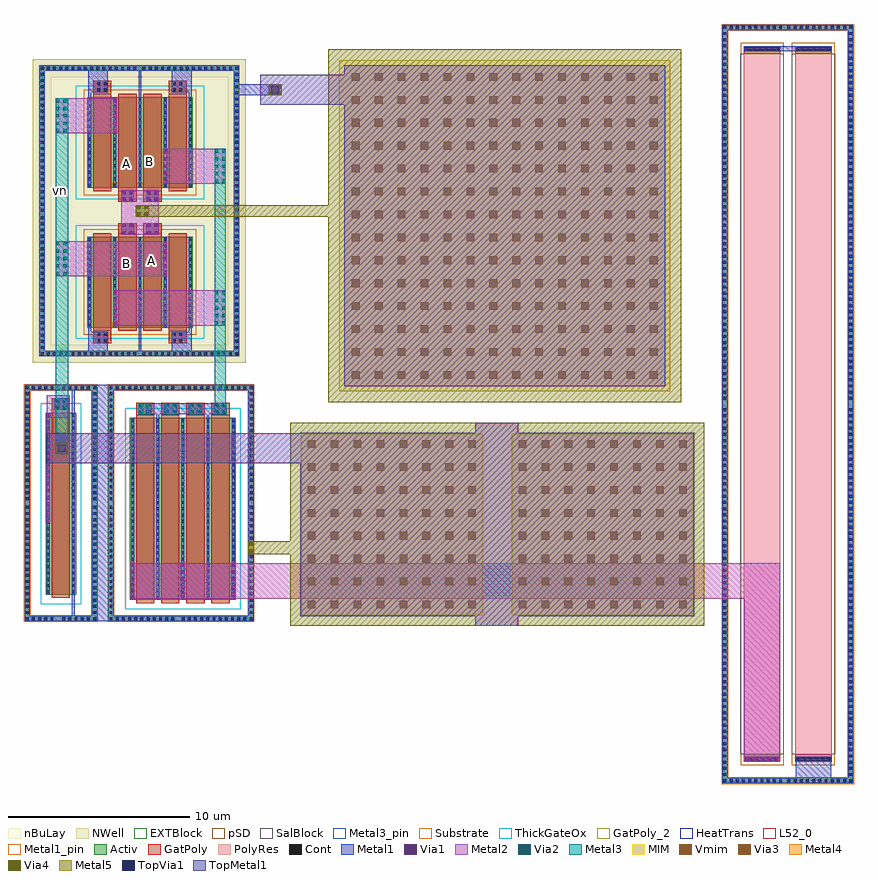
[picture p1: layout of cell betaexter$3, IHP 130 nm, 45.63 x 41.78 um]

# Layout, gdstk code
from math import pi, radians
import gdstk
lib = gdstk.Library(unit=1e-6, precision=5e-09)
def R(c, l, rs):  # rectangles x0, y0, x1, y1
    for r in rs: c.add(gdstk.rectangle(r[:2], r[2:], *l))
def A(c, l, x, y, w, h, nx, ny, dx, dy):  # array of equal rectangles
    R(c, l, [(x+i*dx, y+j*dy, x+i*dx+w, y+j*dy+h) for i in range(nx) for j in range(ny)])
def P(c, l, *ps):  # polygons
    for p in ps: c.add(gdstk.Polygon(p, *l))
Activ = (1, 0)
GatPoly = (5, 0)
GatPoly_2 = (5, 2)
Cont = (6, 0)
Metal1 = (8, 0)
Metal1_pin = (8, 2)
Metal2 = (10, 0)
pSD = (14, 0)
Via1 = (19, 0)
SalBlock = (28, 0)
Via2 = (29, 0)
Metal3 = (30, 0)
Metal3_pin = (30, 2)
NWell = (31, 0)
nBuLay = (32, 0)
MIM = (36, 0)
Substrate = (40, 0)
ThickGateOx = (44, 0)
Via3 = (49, 0)
Metal4 = (50, 0)
HeatTrans = (51, 0)
L52_0 = (52, 0)
Via4 = (66, 0)
Metal5 = (67, 0)
EXTBlock = (111, 0)
TopVia1 = (125, 0)
TopMetal1 = (126, 0)
PolyRes = (128, 0)
Vmim = (129, 0)

guard_ring_1_6 = lib.new_cell('guard_ring$1$6')
R(guard_ring_1_6, Activ, [(-5.5,-7.7,-5.2,7.7), (5.2,-7.7,5.5,7.7), (-5.5,7.7,5.5,8)])
P(guard_ring_1_6, Activ, [(-5.5,-8),(-5.5,7.7),(-5.2,7.7),(-5.2,-7.7),(5.2,-7.7),(5.2,7.7),(-5.5,7.7),(-5.5,8),(5.5,8),(5.5,-8)])
A(guard_ring_1_6, Cont, -5.43, -7.93, 0.16, 0.16, 16, 2, 0.34, 15.7)
A(guard_ring_1_6, Cont, 0.17, -7.93, 0.16, 0.16, 16, 2, 0.34, 15.7)
A(guard_ring_1_6, Cont, -5.43, -7.59, 0.16, 0.16, 1, 22, 0, 0.34)
A(guard_ring_1_6, Cont, 5.27, -7.59, 0.16, 0.16, 1, 22, 0, 0.34)
A(guard_ring_1_6, Cont, -5.43, -0.05, 0.16, 0.16, 1, 23, 0, 0.34)
A(guard_ring_1_6, Cont, 5.27, -0.05, 0.16, 0.16, 1, 23, 0, 0.34)
R(guard_ring_1_6, Metal1, [(-5.5,-8,5.5,-7.7), (-5.5,-7.7,-5.2,7.7), (5.2,-7.7,5.5,7.7), (-5.5,7.7,5.5,8)])
R(guard_ring_1_6, NWell, [(-5.85,-8.35,5.85,8.35)])
R(guard_ring_1_6, nBuLay, [(-5.85,-7.35,-4.85,7.35), (4.85,-7.35,5.85,7.35), (-5.85,7.35,5.85,8.35)])
P(guard_ring_1_6, nBuLay, [(-5.85,-8.35),(-5.85,7.35),(-4.85,7.35),(-4.85,-7.35),(4.85,-7.35),(4.85,7.35),(-5.85,7.35),(-5.85,8.35),(5.85,8.35),(5.85,-8.35)])
guard_ring_1_6.add(gdstk.Label('well', (0,-7.85), layer=63, texttype=0))

pmoshv_10 = lib.new_cell('pmosHV$10')
R(pmoshv_10, Activ, [(0,0,0.3,0.3), (0,0,1.68,5), (1.38,0,1.68,0.3)])
R(pmoshv_10, GatPoly, [(0.34,-0.18,1.34,5.18)])
R(pmoshv_10, GatPoly_2, [(0.34,-0.18,1.34,5.18)])
A(pmoshv_10, Cont, 0.07, 0.07, 0.16, 0.16, 1, 4, 0, 0.36)
A(pmoshv_10, Cont, 1.45, 0.07, 0.16, 0.16, 1, 4, 0, 0.36)
A(pmoshv_10, Cont, 0.07, 1.515, 0.16, 0.16, 1, 3, 0, 0.36)
A(pmoshv_10, Cont, 1.45, 1.515, 0.16, 0.16, 1, 3, 0, 0.36)
A(pmoshv_10, Cont, 0.07, 2.6, 0.16, 0.16, 1, 3, 0, 0.36)
A(pmoshv_10, Cont, 1.45, 2.6, 0.16, 0.16, 1, 3, 0, 0.36)
A(pmoshv_10, Cont, 0.07, 3.685, 0.16, 0.16, 1, 3, 0, 0.36)
A(pmoshv_10, Cont, 1.45, 3.685, 0.16, 0.16, 1, 3, 0, 0.36)
R(pmoshv_10, Cont, [(0.07,4.77,0.23,4.93), (1.45,4.77,1.61,4.93)])
R(pmoshv_10, Metal1, [(0.07,0,0.23,5), (1.45,0,1.61,5)])
R(pmoshv_10, Metal1_pin, [(0.07,0,0.23,5), (1.45,0,1.61,5)])
R(pmoshv_10, pSD, [(-0.18,-0.4,1.86,5.4)])
R(pmoshv_10, NWell, [(-0.62,-0.62,2.3,5.62)])
R(pmoshv_10, Substrate, [(1.38,0,1.68,0.3)])
R(pmoshv_10, ThickGateOx, [(-0.62,-0.62,2.3,5.62)])
R(pmoshv_10, HeatTrans, [(0.34,-0.18,1.34,5.18)])
pmoshv_10.add(gdstk.Label('pmosHV', (0.84,2.5), layer=63, texttype=0))
pmoshv_10.add(gdstk.Label('pmos', (0.84,2.5), layer=51, texttype=0))

cmim_6 = lib.new_cell('cmim$6')
R(cmim_6, MIM, [(0,0,18.2,18.2)])
R(cmim_6, Metal5, [(-0.6,-0.6,18.8,18.8)])
R(cmim_6, TopMetal1, [(0.28,0.28,17.92,17.92)])
A(cmim_6, Vmim, 0.7, 0.7, 0.42, 0.42, 14, 14, 1.26, 1.26)

via_stack_1_7 = lib.new_cell('via_stack$1$7')
R(via_stack_1_7, Metal1, [(-0.105,-0.965,0.105,0.965)])
R(via_stack_1_7, Metal2, [(-0.1,-0.965,0.1,0.965)])
A(via_stack_1_7, Via1, -0.095, -0.915, 0.19, 0.19, 1, 5, 0, 0.41)

pmoshv_1_5 = lib.new_cell('pmosHV$1$5')
R(pmoshv_1_5, Activ, [(0,0,0.3,0.3), (0,0,1.68,5), (1.38,0,1.68,0.3)])
R(pmoshv_1_5, GatPoly, [(0.34,-0.18,1.34,5.18)])
R(pmoshv_1_5, GatPoly_2, [(0.34,-0.18,1.34,5.18)])
A(pmoshv_1_5, Cont, 0.07, 0.07, 0.16, 0.16, 1, 4, 0, 0.36)
A(pmoshv_1_5, Cont, 1.45, 0.07, 0.16, 0.16, 1, 4, 0, 0.36)
A(pmoshv_1_5, Cont, 0.07, 1.515, 0.16, 0.16, 1, 3, 0, 0.36)
A(pmoshv_1_5, Cont, 1.45, 1.515, 0.16, 0.16, 1, 3, 0, 0.36)
A(pmoshv_1_5, Cont, 0.07, 2.6, 0.16, 0.16, 1, 3, 0, 0.36)
A(pmoshv_1_5, Cont, 1.45, 2.6, 0.16, 0.16, 1, 3, 0, 0.36)
A(pmoshv_1_5, Cont, 0.07, 3.685, 0.16, 0.16, 1, 3, 0, 0.36)
A(pmoshv_1_5, Cont, 1.45, 3.685, 0.16, 0.16, 1, 3, 0, 0.36)
R(pmoshv_1_5, Cont, [(0.07,4.77,0.23,4.93), (1.45,4.77,1.61,4.93)])
R(pmoshv_1_5, Metal1, [(0.07,0,0.23,5), (1.45,0,1.61,5)])
R(pmoshv_1_5, Metal1_pin, [(0.07,0,0.23,5), (1.45,0,1.61,5)])
R(pmoshv_1_5, pSD, [(-0.18,-0.4,1.86,5.4)])
R(pmoshv_1_5, NWell, [(-0.62,-0.62,2.3,5.62)])
R(pmoshv_1_5, Substrate, [(1.38,0,1.68,0.3)])
R(pmoshv_1_5, ThickGateOx, [(-0.62,-0.62,2.3,5.62)])
R(pmoshv_1_5, HeatTrans, [(0.34,-0.18,1.34,5.18)])
pmoshv_1_5.add(gdstk.Label('pmosHV', (0.84,2.5), layer=63, texttype=0))
pmoshv_1_5.add(gdstk.Label('pmos', (0.84,2.5), layer=51, texttype=0))

via_stack_50 = lib.new_cell('via_stack$50')
R(via_stack_50, GatPoly, [(-0.32,-0.32,0.32,0.32)])
R(via_stack_50, Cont, [(-0.25,-0.25,-0.09,-0.09), (0.09,-0.25,0.25,-0.09), (-0.25,0.09,-0.09,0.25), (0.09,0.09,0.25,0.25)])
R(via_stack_50, Metal1, [(-0.35,-0.31,0.35,0.31)])
R(via_stack_50, Metal2, [(-0.35,-0.305,0.35,0.305)])
R(via_stack_50, Via1, [(-0.3,-0.3,-0.11,-0.11), (0.11,-0.3,0.3,-0.11), (-0.3,0.11,-0.11,0.3), (0.11,0.11,0.3,0.3)])

via_stack_2_5 = lib.new_cell('via_stack$2$5')
R(via_stack_2_5, Metal2, [(-0.305,-0.965,0.305,0.965)])
A(via_stack_2_5, Via2, -0.3, -0.915, 0.19, 0.19, 1, 5, 0, 0.41)
A(via_stack_2_5, Via2, 0.11, -0.915, 0.19, 0.19, 1, 5, 0, 0.41)
R(via_stack_2_5, Metal3, [(-0.305,-0.965,0.305,0.965)])

via_stack_3_6 = lib.new_cell('via_stack$3$6')
R(via_stack_3_6, GatPoly, [(-0.32,-0.32,0.32,0.32)])
R(via_stack_3_6, Cont, [(-0.25,-0.25,-0.09,-0.09), (0.09,-0.25,0.25,-0.09), (-0.25,0.09,-0.09,0.25), (0.09,0.09,0.25,0.25)])
R(via_stack_3_6, Metal1, [(-0.3,-0.25,0.3,0.25)])

via_stack_10_5 = lib.new_cell('via_stack$10$5')
R(via_stack_10_5, Metal1, [(-0.35,-0.31,0.35,0.31)])
R(via_stack_10_5, Metal2, [(-0.35,-0.305,0.35,0.305)])
R(via_stack_10_5, Via1, [(-0.3,-0.3,-0.11,-0.11), (0.11,-0.3,0.3,-0.11), (-0.3,0.11,-0.11,0.3), (0.11,0.11,0.3,0.3)])
R(via_stack_10_5, Via2, [(-0.3,-0.3,-0.11,-0.11), (0.11,-0.3,0.3,-0.11), (-0.3,0.11,-0.11,0.3), (0.11,0.11,0.3,0.3)])
R(via_stack_10_5, Metal3, [(-0.35,-0.305,0.35,0.305)])
R(via_stack_10_5, Via3, [(-0.3,-0.3,-0.11,-0.11), (0.11,-0.3,0.3,-0.11), (-0.3,0.11,-0.11,0.3), (0.11,0.11,0.3,0.3)])
R(via_stack_10_5, Metal4, [(-0.35,-0.305,0.35,0.305)])
R(via_stack_10_5, Via4, [(-0.3,-0.3,-0.11,-0.11), (0.11,-0.3,0.3,-0.11), (-0.3,0.11,-0.11,0.3), (0.11,0.11,0.3,0.3)])
R(via_stack_10_5, Metal5, [(-0.35,-0.31,0.35,0.31)])
R(via_stack_10_5, TopVia1, [(-0.21,-0.21,0.21,0.21)])
R(via_stack_10_5, TopMetal1, [(-0.82,-0.82,0.82,0.82)])

via_stack_11_3 = lib.new_cell('via_stack$11$3')
R(via_stack_11_3, Metal2, [(-0.35,-0.305,0.35,0.305)])
R(via_stack_11_3, Via2, [(-0.3,-0.3,-0.11,-0.11), (0.11,-0.3,0.3,-0.11), (-0.3,0.11,-0.11,0.3), (0.11,0.11,0.3,0.3)])
R(via_stack_11_3, Metal3, [(-0.35,-0.305,0.35,0.305)])
R(via_stack_11_3, Via3, [(-0.3,-0.3,-0.11,-0.11), (0.11,-0.3,0.3,-0.11), (-0.3,0.11,-0.11,0.3), (0.11,0.11,0.3,0.3)])
R(via_stack_11_3, Metal4, [(-0.35,-0.305,0.35,0.305)])
R(via_stack_11_3, Via4, [(-0.3,-0.3,-0.11,-0.11), (0.11,-0.3,0.3,-0.11), (-0.3,0.11,-0.11,0.3), (0.11,0.11,0.3,0.3)])
R(via_stack_11_3, Metal5, [(-0.35,-0.305,0.35,0.305)])

via_stack_6_3 = lib.new_cell('via_stack$6$3')
R(via_stack_6_3, Metal1, [(-0.35,-0.31,0.35,0.31)])
R(via_stack_6_3, Metal2, [(-0.35,-0.305,0.35,0.305)])
R(via_stack_6_3, Via1, [(-0.3,-0.3,-0.11,-0.11), (0.11,-0.3,0.3,-0.11), (-0.3,0.11,-0.11,0.3), (0.11,0.11,0.3,0.3)])

rppd_3 = lib.new_cell('rppd$3')
R(rppd_3, Activ, [(-1.2,-1.31,-0.9,39.81), (5.72,-1.31,6.02,39.81), (-1.2,39.81,6.02,40.11)])
P(rppd_3, Activ, [(-1.2,-1.61),(-1.2,39.81),(-0.9,39.81),(-0.9,-1.31),(5.72,-1.31),(5.72,39.81),(-1.2,39.81),(-1.2,40.11),(6.02,40.11),(6.02,-1.61)])
R(rppd_3, GatPoly, [(0,-0.43,2,-0.2), (2.82,-0.43,4.82,-0.2), (0,-0.2,2,0), (2.82,-0.2,4.82,0), (0,38.5,2,38.7), (2.82,38.5,4.82,38.7), (0,38.7,2,38.93), (2.82,38.7,4.82,38.93)])
A(rppd_3, Cont, -1.13, -1.54, 0.16, 0.16, 10, 2, 0.34, 41.42)
A(rppd_3, Cont, 2.39, -1.54, 0.16, 0.16, 11, 2, 0.34, 41.42)
A(rppd_3, Cont, -1.13, -1.2, 0.16, 0.16, 1, 60, 0, 0.34)
A(rppd_3, Cont, 5.79, -1.2, 0.16, 0.16, 1, 60, 0, 0.34)
A(rppd_3, Cont, -1.13, 19.48, 0.16, 0.16, 1, 60, 0, 0.34)
A(rppd_3, Cont, 5.79, 19.48, 0.16, 0.16, 1, 60, 0, 0.34)
R(rppd_3, Cont, [(0.07,-0.36,1.93,-0.2), (2.89,-0.36,4.75,-0.2), (0.07,38.7,1.93,38.86), (2.89,38.7,4.75,38.86)])
R(rppd_3, Metal1, [(-1.2,-1.61,6.02,-1.31), (-1.2,-1.31,-0.9,39.81), (5.72,-1.31,6.02,39.81), (0.02,-0.43,1.98,-0.13), (2.84,-0.43,4.8,-0.13), (0.02,38.63,1.98,38.93), (0.02,38.63,4.8,38.93), (2.84,38.63,4.8,38.93), (-1.2,39.81,6.02,40.11)])
R(rppd_3, Metal1_pin, [(0.02,-0.43,1.98,-0.13), (2.84,-0.43,4.8,-0.13), (0.02,38.63,1.98,38.93), (2.84,38.63,4.8,38.93)])
R(rppd_3, pSD, [(-1.23,-1.28,-0.87,39.78), (5.69,-1.28,6.05,39.78), (-0.18,-0.61,2.18,0), (2.64,-0.61,5,0), (-0.18,0,2.18,38.5), (2.64,0,5,38.5), (-0.18,38.5,2.18,39.11), (2.64,38.5,5,39.11), (-1.23,39.78,6.05,40.14)])
P(rppd_3, pSD, [(-1.23,-1.64),(-1.23,39.78),(-0.87,39.78),(-0.87,-1.28),(5.69,-1.28),(5.69,39.78),(-1.23,39.78),(-1.23,40.14),(6.05,40.14),(6.05,-1.64)])
R(rppd_3, SalBlock, [(-0.2,0,2.2,38.5), (2.62,0,5.02,38.5)])
R(rppd_3, Substrate, [(-1.23,-1.28,-0.87,39.78), (5.69,-1.28,6.05,39.78), (-1.23,39.78,6.05,40.14)])
P(rppd_3, Substrate, [(-1.23,-1.64),(-1.23,39.78),(-0.87,39.78),(-0.87,-1.28),(5.69,-1.28),(5.69,39.78),(-1.23,39.78),(-1.23,40.14),(6.05,40.14),(6.05,-1.64)])
R(rppd_3, L52_0, [(0,0,2,38.5), (2.82,0,4.82,38.5)])
R(rppd_3, EXTBlock, [(-0.18,-0.61,2.18,0), (2.64,-0.61,5,0), (-0.2,0,2.2,38.5), (2.62,0,5.02,38.5), (-0.18,38.5,2.18,39.11), (2.64,38.5,5,39.11)])
R(rppd_3, PolyRes, [(0,0,2,38.5), (2.82,0,4.82,38.5)])
rppd_3.add(gdstk.Label('rppd r=5025.030', (1,19.25), layer=63, texttype=0))
rppd_3.add(gdstk.Label('rppd r=5025.030', (1,19.25), layer=63, texttype=0))
rppd_3.add(gdstk.Label('sub!', (2.41,-1.46), layer=63, texttype=0))
rppd_3.add(gdstk.Label('rppd', (1,19.25), layer=52, texttype=0))
rppd_3.add(gdstk.Label('rppd', (3.82,19.25), layer=52, texttype=0))

cmim_2_3 = lib.new_cell('cmim$2$3')
R(cmim_2_3, MIM, [(0,0,9.97,9.97)])
R(cmim_2_3, Metal5, [(-0.6,-0.6,10.57,10.57)])
R(cmim_2_3, TopMetal1, [(-0.055,-0.055,10.025,10.025)])
A(cmim_2_3, Vmim, 0.365, 0.365, 0.42, 0.42, 8, 8, 1.26, 1.26)

via_stack_12_5 = lib.new_cell('via_stack$12$5')
R(via_stack_12_5, Metal1, [(-0.105,-0.35,0.105,0.35)])
R(via_stack_12_5, Metal2, [(-0.1,-0.35,0.1,0.35)])
R(via_stack_12_5, Via1, [(-0.095,-0.3,0.095,-0.11), (-0.095,0.11,0.095,0.3)])
R(via_stack_12_5, Via2, [(-0.095,-0.3,0.095,-0.11), (-0.095,0.11,0.095,0.3)])
R(via_stack_12_5, Metal3, [(-0.1,-0.35,0.1,0.35)])
R(via_stack_12_5, Via3, [(-0.095,-0.3,0.095,-0.11), (-0.095,0.11,0.095,0.3)])
R(via_stack_12_5, Metal4, [(-0.1,-0.35,0.1,0.35)])
R(via_stack_12_5, Via4, [(-0.095,-0.3,0.095,-0.11), (-0.095,0.11,0.095,0.3)])
R(via_stack_12_5, Metal5, [(-0.1,-0.35,0.1,0.35)])

guard_ring_13 = lib.new_cell('guard_ring$13')
R(guard_ring_13, Activ, [(-4,-6.2,-3.7,6.2), (3.7,-6.2,4,6.2), (-4,6.2,4,6.5)])
P(guard_ring_13, Activ, [(-4,-6.5),(-4,6.2),(-3.7,6.2),(-3.7,-6.2),(3.7,-6.2),(3.7,6.2),(-4,6.2),(-4,6.5),(4,6.5),(4,-6.5)])
A(guard_ring_13, Cont, -3.93, -6.43, 0.16, 0.16, 11, 2, 0.34, 12.7)
A(guard_ring_13, Cont, 0.03, -6.43, 0.16, 0.16, 12, 2, 0.34, 12.7)
A(guard_ring_13, Cont, -3.93, -6.09, 0.16, 0.16, 1, 18, 0, 0.34)
A(guard_ring_13, Cont, 3.77, -6.09, 0.16, 0.16, 1, 18, 0, 0.34)
A(guard_ring_13, Cont, -3.93, 0.15, 0.16, 0.16, 1, 18, 0, 0.34)
A(guard_ring_13, Cont, 3.77, 0.15, 0.16, 0.16, 1, 18, 0, 0.34)
R(guard_ring_13, Metal1, [(-4,-6.5,4,-6.2), (-4,-6.2,-3.7,6.2), (3.7,-6.2,4,6.2), (-4,6.2,4,6.5)])
R(guard_ring_13, pSD, [(-4.03,-6.17,-3.67,6.17), (3.67,-6.17,4.03,6.17), (-4.03,6.17,4.03,6.53)])
P(guard_ring_13, pSD, [(-4.03,-6.53),(-4.03,6.17),(-3.67,6.17),(-3.67,-6.17),(3.67,-6.17),(3.67,6.17),(-4.03,6.17),(-4.03,6.53),(4.03,6.53),(4.03,-6.53)])
R(guard_ring_13, Substrate, [(-4.03,-6.17,-3.67,6.17), (3.67,-6.17,4.03,6.17), (-4.03,6.17,4.03,6.53)])
P(guard_ring_13, Substrate, [(-4.03,-6.53),(-4.03,6.17),(-3.67,6.17),(-3.67,-6.17),(3.67,-6.17),(3.67,6.17),(-4.03,6.17),(-4.03,6.53),(4.03,6.53),(4.03,-6.53)])
guard_ring_13.add(gdstk.Label('sub!', (0,-6.35), layer=63, texttype=0))

via_stack_4_3 = lib.new_cell('via_stack$4$3')
R(via_stack_4_3, GatPoly, [(-0.32,-0.32,0.32,0.32)])
R(via_stack_4_3, Cont, [(-0.25,-0.25,-0.09,-0.09), (0.09,-0.25,0.25,-0.09), (-0.25,0.09,-0.09,0.25), (0.09,0.09,0.25,0.25)])
R(via_stack_4_3, Metal1, [(-0.35,-0.31,0.35,0.31)])
R(via_stack_4_3, Metal2, [(-0.35,-0.305,0.35,0.305)])
R(via_stack_4_3, Via1, [(-0.3,-0.3,-0.11,-0.11), (0.11,-0.3,0.3,-0.11), (-0.3,0.11,-0.11,0.3), (0.11,0.11,0.3,0.3)])
R(via_stack_4_3, Via2, [(-0.3,-0.3,-0.11,-0.11), (0.11,-0.3,0.3,-0.11), (-0.3,0.11,-0.11,0.3), (0.11,0.11,0.3,0.3)])
R(via_stack_4_3, Metal3, [(-0.35,-0.305,0.35,0.305)])

guard_ring_2_5 = lib.new_cell('guard_ring$2$5')
R(guard_ring_2_5, Activ, [(-2,-6.2,-1.7,6.2), (1.7,-6.2,2,6.2), (-2,6.2,2,6.5)])
P(guard_ring_2_5, Activ, [(-2,-6.5),(-2,6.2),(-1.7,6.2),(-1.7,-6.2),(1.7,-6.2),(1.7,6.2),(-2,6.2),(-2,6.5),(2,6.5),(2,-6.5)])
A(guard_ring_2_5, Cont, -1.93, -6.43, 0.16, 0.16, 5, 2, 0.34, 12.7)
A(guard_ring_2_5, Cont, 0.07, -6.43, 0.16, 0.16, 6, 2, 0.34, 12.7)
A(guard_ring_2_5, Cont, -1.93, -6.09, 0.16, 0.16, 1, 18, 0, 0.34)
A(guard_ring_2_5, Cont, 1.77, -6.09, 0.16, 0.16, 1, 18, 0, 0.34)
A(guard_ring_2_5, Cont, -1.93, 0.15, 0.16, 0.16, 1, 18, 0, 0.34)
A(guard_ring_2_5, Cont, 1.77, 0.15, 0.16, 0.16, 1, 18, 0, 0.34)
R(guard_ring_2_5, Metal1, [(-2,-6.5,2,-6.2), (-2,-6.2,-1.7,6.2), (1.7,-6.2,2,6.2), (-2,6.2,2,6.5)])
R(guard_ring_2_5, pSD, [(-2.03,-6.17,-1.67,6.17), (1.67,-6.17,2.03,6.17), (-2.03,6.17,2.03,6.53)])
P(guard_ring_2_5, pSD, [(-2.03,-6.53),(-2.03,6.17),(-1.67,6.17),(-1.67,-6.17),(1.67,-6.17),(1.67,6.17),(-2.03,6.17),(-2.03,6.53),(2.03,6.53),(2.03,-6.53)])
R(guard_ring_2_5, Substrate, [(-2.03,-6.17,-1.67,6.17), (1.67,-6.17,2.03,6.17), (-2.03,6.17,2.03,6.53)])
P(guard_ring_2_5, Substrate, [(-2.03,-6.53),(-2.03,6.17),(-1.67,6.17),(-1.67,-6.17),(1.67,-6.17),(1.67,6.17),(-2.03,6.17),(-2.03,6.53),(2.03,6.53),(2.03,-6.53)])
guard_ring_2_5.add(gdstk.Label('sub!', (0,-6.35), layer=63, texttype=0))

via_stack_5_5 = lib.new_cell('via_stack$5$5')
R(via_stack_5_5, Metal1, [(-0.105,-3.015,0.105,3.015)])
R(via_stack_5_5, Metal2, [(-0.1,-3.015,0.1,3.015)])
A(via_stack_5_5, Via1, -0.095, -2.965, 0.19, 0.19, 1, 15, 0, 0.41)

nmoshv_2_5 = lib.new_cell('nmosHV$2$5')
R(nmoshv_2_5, Activ, [(0,0,0.3,0.3), (0,0,1.68,10), (1.38,0,1.68,0.3)])
R(nmoshv_2_5, GatPoly, [(0.34,-0.18,1.34,10.18)])
R(nmoshv_2_5, GatPoly_2, [(0.34,-0.18,1.34,10.18)])
A(nmoshv_2_5, Cont, 0.07, 0.07, 0.16, 0.16, 1, 4, 0, 0.345)
A(nmoshv_2_5, Cont, 1.45, 0.07, 0.16, 0.16, 1, 4, 0, 0.345)
A(nmoshv_2_5, Cont, 0.07, 1.455, 0.16, 0.16, 1, 3, 0, 0.345)
A(nmoshv_2_5, Cont, 1.45, 1.455, 0.16, 0.16, 1, 3, 0, 0.345)
A(nmoshv_2_5, Cont, 0.07, 2.495, 0.16, 0.16, 1, 4, 0, 0.345)
A(nmoshv_2_5, Cont, 1.45, 2.495, 0.16, 0.16, 1, 4, 0, 0.345)
A(nmoshv_2_5, Cont, 0.07, 3.88, 0.16, 0.16, 1, 3, 0, 0.345)
A(nmoshv_2_5, Cont, 1.45, 3.88, 0.16, 0.16, 1, 3, 0, 0.345)
A(nmoshv_2_5, Cont, 0.07, 4.92, 0.16, 0.16, 1, 4, 0, 0.345)
A(nmoshv_2_5, Cont, 1.45, 4.92, 0.16, 0.16, 1, 4, 0, 0.345)
A(nmoshv_2_5, Cont, 0.07, 6.305, 0.16, 0.16, 1, 3, 0, 0.345)
A(nmoshv_2_5, Cont, 1.45, 6.305, 0.16, 0.16, 1, 3, 0, 0.345)
A(nmoshv_2_5, Cont, 0.07, 7.345, 0.16, 0.16, 1, 4, 0, 0.345)
A(nmoshv_2_5, Cont, 1.45, 7.345, 0.16, 0.16, 1, 4, 0, 0.345)
A(nmoshv_2_5, Cont, 0.07, 8.73, 0.16, 0.16, 1, 3, 0, 0.345)
A(nmoshv_2_5, Cont, 1.45, 8.73, 0.16, 0.16, 1, 3, 0, 0.345)
R(nmoshv_2_5, Cont, [(0.07,9.77,0.23,9.93), (1.45,9.77,1.61,9.93)])
R(nmoshv_2_5, Metal1, [(0.07,0,0.23,10), (1.45,0,1.61,10)])
R(nmoshv_2_5, Metal1_pin, [(0.07,0,0.23,10), (1.45,0,1.61,10)])
R(nmoshv_2_5, ThickGateOx, [(-0.27,-0.52,1.95,10.52)])
R(nmoshv_2_5, HeatTrans, [(0.34,-0.18,1.34,10.18)])
nmoshv_2_5.add(gdstk.Label('nmosHV', (0.84,5), layer=63, texttype=0))
nmoshv_2_5.add(gdstk.Label('nmosHV', (0.84,5), layer=51, texttype=0))

nmoshv_10 = lib.new_cell('nmosHV$10')
R(nmoshv_10, Activ, [(0,0,0.3,0.3), (0,0,1.68,10), (1.38,0,1.68,0.3)])
R(nmoshv_10, GatPoly, [(0.34,-0.18,1.34,10.18)])
R(nmoshv_10, GatPoly_2, [(0.34,-0.18,1.34,10.18)])
A(nmoshv_10, Cont, 0.07, 0.07, 0.16, 0.16, 1, 4, 0, 0.345)
A(nmoshv_10, Cont, 1.45, 0.07, 0.16, 0.16, 1, 4, 0, 0.345)
A(nmoshv_10, Cont, 0.07, 1.455, 0.16, 0.16, 1, 3, 0, 0.345)
A(nmoshv_10, Cont, 1.45, 1.455, 0.16, 0.16, 1, 3, 0, 0.345)
A(nmoshv_10, Cont, 0.07, 2.495, 0.16, 0.16, 1, 4, 0, 0.345)
A(nmoshv_10, Cont, 1.45, 2.495, 0.16, 0.16, 1, 4, 0, 0.345)
A(nmoshv_10, Cont, 0.07, 3.88, 0.16, 0.16, 1, 3, 0, 0.345)
A(nmoshv_10, Cont, 1.45, 3.88, 0.16, 0.16, 1, 3, 0, 0.345)
A(nmoshv_10, Cont, 0.07, 4.92, 0.16, 0.16, 1, 4, 0, 0.345)
A(nmoshv_10, Cont, 1.45, 4.92, 0.16, 0.16, 1, 4, 0, 0.345)
A(nmoshv_10, Cont, 0.07, 6.305, 0.16, 0.16, 1, 3, 0, 0.345)
A(nmoshv_10, Cont, 1.45, 6.305, 0.16, 0.16, 1, 3, 0, 0.345)
A(nmoshv_10, Cont, 0.07, 7.345, 0.16, 0.16, 1, 4, 0, 0.345)
A(nmoshv_10, Cont, 1.45, 7.345, 0.16, 0.16, 1, 4, 0, 0.345)
A(nmoshv_10, Cont, 0.07, 8.73, 0.16, 0.16, 1, 3, 0, 0.345)
A(nmoshv_10, Cont, 1.45, 8.73, 0.16, 0.16, 1, 3, 0, 0.345)
R(nmoshv_10, Cont, [(0.07,9.77,0.23,9.93), (1.45,9.77,1.61,9.93)])
R(nmoshv_10, Metal1, [(0.07,0,0.23,10), (1.45,0,1.61,10)])
R(nmoshv_10, Metal1_pin, [(0.07,0,0.23,10), (1.45,0,1.61,10)])
R(nmoshv_10, ThickGateOx, [(-0.27,-0.52,1.95,10.52)])
R(nmoshv_10, HeatTrans, [(0.34,-0.18,1.34,10.18)])
nmoshv_10.add(gdstk.Label('nmosHV', (0.84,5), layer=63, texttype=0))
nmoshv_10.add(gdstk.Label('nmosHV', (0.84,5), layer=51, texttype=0))

via_stack_9_3 = lib.new_cell('via_stack$9$3')
R(via_stack_9_3, Metal3, [(-0.35,-0.305,0.35,0.305)])
R(via_stack_9_3, Via3, [(-0.3,-0.3,-0.11,-0.11), (0.11,-0.3,0.3,-0.11), (-0.3,0.11,-0.11,0.3), (0.11,0.11,0.3,0.3)])
R(via_stack_9_3, Metal4, [(-0.35,-0.305,0.35,0.305)])
R(via_stack_9_3, Via4, [(-0.3,-0.3,-0.11,-0.11), (0.11,-0.3,0.3,-0.11), (-0.3,0.11,-0.11,0.3), (0.11,0.11,0.3,0.3)])
R(via_stack_9_3, Metal5, [(-0.35,-0.31,0.35,0.31)])
R(via_stack_9_3, TopVia1, [(-0.21,-0.21,0.21,0.21)])
R(via_stack_9_3, TopMetal1, [(-0.82,-0.82,0.82,0.82)])

betaexter_3 = lib.new_cell('betaexter$3')
A(betaexter_3, GatPoly, 3.44, 36.96, 1, 0.77, 4, 1, 1.38, 0)
R(betaexter_3, GatPoly, [(-1.2,37.285,-0.2,37.985), (1.085,41,2.085,41.785), (5.225,41,6.225,41.785), (2.465,47,3.465,47.605), (3.845,47,4.845,47.605), (2.465,48.795,3.465,49.4), (3.845,48.795,4.845,49.4), (1.085,54.65,2.085,55.435), (5.225,54.65,6.225,55.435)])
R(betaexter_3, Metal1, [(39.7,16.81,41.655,18.29), (-0.09,25.72,0.07,27.765), (1.005,25.72,2.21,38.72), (4.55,36.825,4.71,37.72), (7.31,36.85,7.47,37.72), (-0.09,36.965,0.07,38.72), (3.845,37.1,7.47,37.72), (7.47,37.1,8.43,37.72), (0.815,40.285,0.975,41.94), (0.815,40.285,1.89,41.64), (3.575,40.285,3.735,41.925), (5.4,40.285,6.495,41.64), (6.335,40.285,6.495,41.905), (6.335,54.47,6.495,56.285), (3.575,54.48,3.735,56.285), (0.815,54.515,0.975,56.285), (8.82,54.635,11.44,55.255), (5.4,54.795,6.495,56.285), (0.815,54.81,1.885,56.285)])
R(betaexter_3, Metal2, [(36.88,17.99,38.835,28.925), (3.135,26.965,38.855,28.925), (9.62,29.52,9.91,30.02), (-1.48,36.92,-0.2,38.15), (2.17,41.985,8.375,43.915), (-0.99,44.695,5.14,46.625), (2.615,46.975,4.685,49.425), (4.93,49.775,8.375,51.705), (-0.99,52.55,2.38,54.48)])
R(betaexter_3, Metal3, [(9.62,29.52,9.91,30.02), (-0.99,34.91,-0.3,54.48), (7.765,37.09,8.375,51.705)])
R(betaexter_3, Metal3_pin, [(-0.785,49.365,-0.655,49.495)])
R(betaexter_3, Metal4, [(9.62,29.52,9.91,30.02)])
R(betaexter_3, Metal5, [(22.08,25.47,24.45,36.64), (9.61,29.42,13.4,30.12), (3.415,47.97,15.76,48.59)])
R(betaexter_3, TopMetal1, [(22.08,25.47,24.45,36.64), (-0.17,34.41,34.125,36.05), (11.91,54.125,15.81,55.765)])
betaexter_3.add(gdstk.Reference(guard_ring_1_6, (3.62,48.285)))
betaexter_3.add(gdstk.Reference(pmoshv_10, (0.745,49.545)))
betaexter_3.add(gdstk.Reference(pmoshv_10, (2.125,49.545)))
betaexter_3.add(gdstk.Reference(pmoshv_10, (3.505,49.545)))
betaexter_3.add(gdstk.Reference(pmoshv_10, (4.885,49.545)))
betaexter_3.add(gdstk.Reference(cmim_6, (14.605,38.36)))
betaexter_3.add(gdstk.Reference(via_stack_1_7, (6.01,28.01)))
betaexter_3.add(gdstk.Reference(pmoshv_1_5, (0.745,41.865)))
betaexter_3.add(gdstk.Reference(pmoshv_10, (2.125,41.865)))
betaexter_3.add(gdstk.Reference(pmoshv_10, (3.505,41.865)))
betaexter_3.add(gdstk.Reference(pmoshv_10, (4.885,41.865)))
betaexter_3.add(gdstk.Reference(via_stack_50, (2.965,49.115)))
betaexter_3.add(gdstk.Reference(via_stack_50, (4.34,49.115)))
betaexter_3.add(gdstk.Reference(via_stack_50, (4.335,47.285)))
betaexter_3.add(gdstk.Reference(via_stack_50, (2.98,47.285)))
betaexter_3.add(gdstk.Reference(via_stack_1_7, (2.275,53.515)))
betaexter_3.add(gdstk.Reference(via_stack_1_7, (5.035,50.74)))
betaexter_3.add(gdstk.Reference(via_stack_1_7, (5.035,45.66)))
betaexter_3.add(gdstk.Reference(via_stack_1_7, (2.275,42.95)))
betaexter_3.add(gdstk.Reference(via_stack_2_5, (-0.685,53.515)))
betaexter_3.add(gdstk.Reference(via_stack_3_6, (1.57,41.32)))
betaexter_3.add(gdstk.Reference(via_stack_3_6, (5.72,41.32)))
betaexter_3.add(gdstk.Reference(via_stack_3_6, (5.72,55.115)))
betaexter_3.add(gdstk.Reference(via_stack_3_6, (1.565,55.115)))
betaexter_3.add(gdstk.Reference(via_stack_2_5, (-0.685,45.66)))
betaexter_3.add(gdstk.Reference(via_stack_2_5, (8.07,42.95)))
betaexter_3.add(gdstk.Reference(via_stack_2_5, (8.07,50.74)))
betaexter_3.add(gdstk.Reference(via_stack_1_7, (37.87,18.135), rotation=3*pi/2))
betaexter_3.add(gdstk.Reference(via_stack_10_5, (11.09,54.945)))
betaexter_3.add(gdstk.Reference(via_stack_11_3, (3.765,48.28)))
betaexter_3.add(gdstk.Reference(via_stack_6_3, (3.775,48.28)))
betaexter_3.add(gdstk.Reference(rppd_3, (36.855,18.42)))
betaexter_3.add(gdstk.Reference(cmim_2_3, (24.1,26.07)))
betaexter_3.add(gdstk.Reference(cmim_2_3, (12.515,26.07)))
betaexter_3.add(gdstk.Reference(via_stack_12_5, (9.765,29.77), rotation=pi))
betaexter_3.add(gdstk.Reference(guard_ring_13, (5.91,32.22)))
betaexter_3.add(gdstk.Reference(via_stack_1_7, (8.77,28.01)))
betaexter_3.add(gdstk.Reference(via_stack_1_7, (3.24,28.01)))
betaexter_3.add(gdstk.Reference(via_stack_4_3, (8.08,37.41)))
betaexter_3.add(gdstk.Reference(via_stack_4_3, (6.695,37.41)))
betaexter_3.add(gdstk.Reference(via_stack_4_3, (5.325,37.41)))
betaexter_3.add(gdstk.Reference(via_stack_4_3, (3.92,37.41)))
betaexter_3.add(gdstk.Reference(guard_ring_2_5, (-0.695,32.22)))
betaexter_3.add(gdstk.Reference(via_stack_5_5, (-1.385,34.145)))
betaexter_3.add(gdstk.Reference(nmoshv_2_5, (-1.54,27.195)))
betaexter_3.add(gdstk.Reference(nmoshv_10, (7.24,26.91)))
betaexter_3.add(gdstk.Reference(nmoshv_10, (5.86,26.91)))
betaexter_3.add(gdstk.Reference(nmoshv_10, (4.48,26.91)))
betaexter_3.add(gdstk.Reference(nmoshv_10, (3.1,26.91)))
betaexter_3.add(gdstk.Reference(via_stack_4_3, (-0.69,37.665)))
betaexter_3.add(gdstk.Reference(via_stack_9_3, (-0.645,35.23)))
betaexter_3.add(gdstk.Label('A', (2.885,50.875), layer=8, texttype=0))
betaexter_3.add(gdstk.Label('B', (4.165,51.02), layer=8, texttype=0))
betaexter_3.add(gdstk.Label('B', (2.885,45.4), layer=8, texttype=0))
betaexter_3.add(gdstk.Label('A', (4.265,45.58), layer=8, texttype=0))
betaexter_3.add(gdstk.Label('vn', (-0.72,49.43), layer=30, texttype=25))

lib.write_gds('betaexter_3.gds')
